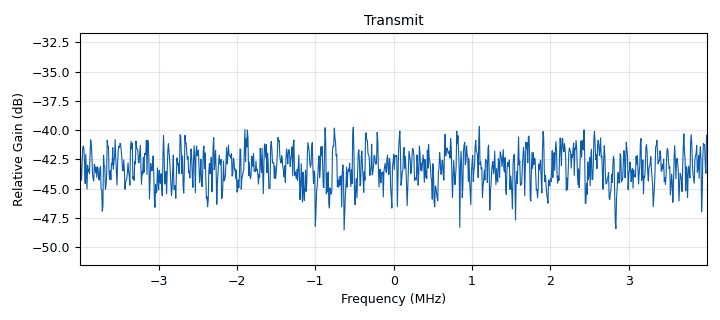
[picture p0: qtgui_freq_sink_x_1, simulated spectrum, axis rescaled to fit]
options:
  parameters:
    category: Custom
    generate_options: qt_gui
    id: example_10hz
    output_language: python
    title: elf
  states: {}

blocks:
- name: center_freq
  id: variable
  parameters:
    value: '2400000000'
  states: {}
- name: modulated_freq
  id: variable_qtgui_range
  parameters:
    start: '0'
    step: '50'
    stop: '3000'
    value: '300'
  states: {}
- name: samp_rate
  id: variable
  parameters:
    value: 8e6
  states: {}
- name: analog_noise_source_x_0
  id: analog_noise_source_x
  parameters:
    amp: '1'
    noise_type: analog.GR_UNIFORM
    seed: '0'
    type: complex
  states: {}
- name: low_pass_filter_0
  id: low_pass_filter
  parameters:
    cutoff_freq: '4000000'
    decim: '1'
    gain: '1'
    samp_rate: samp_rate
    type: fir_filter_ccf
    width: '1000000'
    win: window.WIN_HAMMING
  states: {}
- name: qtgui_freq_sink_x_1
  id: qtgui_freq_sink_x
  parameters:
    average: '0.1'
    bw: samp_rate
    ctrlpanel: 'True'
    fc: modulated_freq
    fftsize: '1024'
    name: Transmit
    type: complex
  states: {}
- name: soapy_hackrf_sink_0
  id: soapy_hackrf_sink
  parameters:
    amp: 'True'
    center_freq: center_freq
    samp_rate: samp_rate
    type: fc32
  states: {}

connections:
- [analog_noise_source_x_0, '0', low_pass_filter_0, '0']
- [low_pass_filter_0, '0', qtgui_freq_sink_x_1, '0']
- [low_pass_filter_0, '0', soapy_hackrf_sink_0, '0']

metadata:
  file_format: 1
  grc_version: 3.10.10.0
